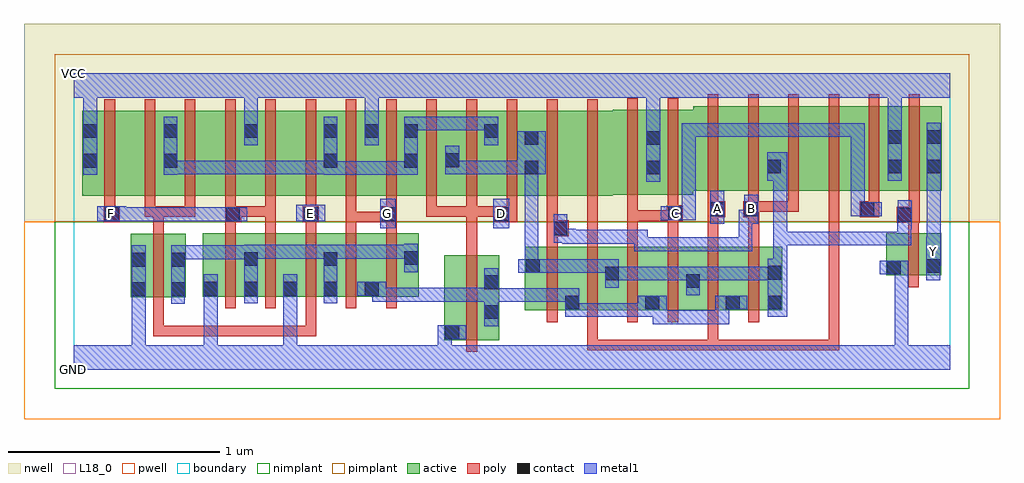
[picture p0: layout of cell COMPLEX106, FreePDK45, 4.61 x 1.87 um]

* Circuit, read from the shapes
.subckt COMPLEX106 A B C D E F G GND VCC Y
M1 n1 E GND VSUBS nfet w=0.3u l=0.05u m=2
M2 n1 F GND VSUBS nfet w=0.3u l=0.05u m=2
M3 n2 G n1 VSUBS nfet w=0.3u l=0.05u m=2
M4 n2 D GND VSUBS nfet w=0.4u l=0.05u
M5 n2 B n3 VSUBS nfet w=0.3u l=0.05u m=2
M6 n3 A n2 VSUBS nfet w=0.3u l=0.05u m=2
M7 n2 C n3 VSUBS nfet w=0.3u l=0.05u m=2
M8 Y n3 GND VSUBS nfet w=0.2u l=0.05u
M9 n4 F VCC n5 pfet w=0.4u l=0.05u
M10 n6 E n4 n5 pfet w=0.4u l=0.05u
M11 n7 E n6 n5 pfet w=0.4u l=0.05u
M12 VCC F n7 n5 pfet w=0.4u l=0.05u
M13 n8 F VCC n5 pfet w=0.4u l=0.05u
M14 n6 E n8 n5 pfet w=0.4u l=0.05u
M15 VCC G n6 n5 pfet w=0.4u l=0.05u m=2
M16 n3 D n6 n5 pfet w=0.4u l=0.05u m=3
M17 n9 B n3 n5 pfet w=0.4u l=0.05u
M18 n10 A n9 n5 pfet w=0.4u l=0.05u
M19 VCC C n10 n5 pfet w=0.4u l=0.05u
M20 n11 C VCC n5 pfet w=0.4u l=0.05u
M21 n12 A n11 n5 pfet w=0.4u l=0.05u
M22 n3 B n12 n5 pfet w=0.4u l=0.05u
M23 n13 B n3 n5 pfet w=0.4u l=0.05u
M24 n14 A n13 n5 pfet w=0.4u l=0.05u
M25 VCC C n14 n5 pfet w=0.4u l=0.05u
M26 Y n3 VCC n5 pfet w=0.4u l=0.05u
.ends

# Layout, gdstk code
import gdstk
lib = gdstk.Library(unit=1e-6, precision=1e-09)
def R(c, l, rs):  # rectangles x0, y0, x1, y1
    for r in rs: c.add(gdstk.rectangle(r[:2], r[2:], *l))
def A(c, l, x, y, w, h, nx, ny, dx, dy):  # array of equal rectangles
    R(c, l, [(x+i*dx, y+j*dy, x+i*dx+w, y+j*dy+h) for i in range(nx) for j in range(ny)])
active = (1, 0)
pwell = (2, 0)
nwell = (3, 0)
nimplant = (4, 0)
pimplant = (5, 0)
poly = (9, 0)
contact = (10, 0)
metal1 = (11, 0)
L18_0 = (18, 0)
boundary = (235, 0)

complex106 = lib.new_cell('COMPLEX106')
A(complex106, active, 0.04, 0.822, 0.225, 0.4, 3, 1, 0.38, 0)
R(complex106, active, [(1.75,0.14,2.01,0.54), (1.75,0.14,1.825,0.54), (1.935,0.235,2.01,0.54), (2.13,0.28,2.392,0.58), (2.317,0.28,2.58,0.58), (2.317,0.28,2.392,0.405), (2.505,0.28,2.77,0.58), (2.695,0.28,2.962,0.58), (2.695,0.28,2.77,0.517), (2.887,0.28,3.15,0.58), (3.075,0.28,3.347,0.58), (3.075,0.28,3.15,0.437), (3.272,0.28,3.347,0.58), (2.13,0.33,2.205,0.58), (2.505,0.33,2.58,0.492), (2.887,0.33,2.962,0.457), (0.27,0.342,0.345,0.642), (0.27,0.342,0.53,0.642), (0.455,0.342,0.53,0.642), (0.61,0.345,0.685,0.645), (0.61,0.345,0.875,0.645), (0.8,0.345,0.875,0.645), (0.8,0.345,1.06,0.645), (0.985,0.345,1.25,0.645), (0.985,0.345,1.06,0.597), (1.175,0.345,1.25,0.645), (1.175,0.345,1.445,0.645), (1.37,0.345,1.63,0.645), (1.37,0.345,1.445,0.597), (1.555,0.345,1.63,0.645), (3.837,0.445,3.912,0.645), (3.837,0.445,4.097,0.645), (4.022,0.445,4.097,0.645), (0.04,0.822,0.115,1.222), (0.265,0.822,0.495,1.222), (0.42,0.822,0.495,1.165), (0.645,0.822,0.875,1.222), (1.025,0.822,1.25,1.222), (1.175,0.822,1.25,1.2), (1.175,0.822,1.445,1.222), (1.37,0.822,1.63,1.222), (1.37,0.822,1.445,1.222), (1.555,0.822,1.825,1.222), (1.555,0.822,1.63,1.165), (1.75,0.822,2.01,1.222), (1.75,0.822,1.825,1.07), (1.935,0.822,2.01,1.2), (1.935,0.822,2.2,1.222), (2.125,0.822,2.355,1.222), (2.125,0.822,2.2,1.2), (2.355,0.822,2.545,1.222), (2.545,0.827,2.775,1.227), (2.7,0.827,2.775,1.227), (2.7,0.827,2.925,1.227), (2.925,0.845,3.115,1.245), (3.115,0.845,3.345,1.245), (3.27,0.845,3.495,1.245), (3.27,0.845,3.345,1.07), (3.495,0.845,3.685,1.245), (3.685,0.845,3.915,1.245), (3.84,0.845,4.1,1.245), (3.84,0.845,3.915,1.245), (4.025,0.845,4.1,1.155), (0.8,0.907,0.875,1.222)])
R(complex106, pwell, [(-0.235,-0.235,4.375,0.7)])
R(complex106, nwell, [(-0.235,0.7,4.375,1.635)])
R(complex106, nimplant, [(-0.09,-0.09,4.23,0.7)])
R(complex106, pimplant, [(-0.09,0.7,4.23,1.49)])
A(complex106, poly, 2.235, 0.225, 0.05, 0.41, 5, 1, 0.19, 0)
A(complex106, poly, 0.715, 0.29, 0.05, 0.41, 5, 1, 0.19, 0)
A(complex106, poly, 1.095, 0.65, 0.05, 0.097, 3, 1, 0.19, 0)
A(complex106, poly, 0.145, 0.722, 0.05, 0.095, 6, 1, 0.19, 0)
A(complex106, poly, 1.475, 0.722, 0.05, 0.095, 4, 1, 0.19, 0)
A(complex106, poly, 2.995, 0.745, 0.05, 0.095, 3, 1, 0.19, 0)
A(complex106, poly, 0.145, 0.767, 0.05, 0.51, 13, 1, 0.19, 0)
A(complex106, poly, 2.995, 0.79, 0.05, 0.51, 6, 1, 0.19, 0)
R(complex106, poly, [(1.855,0.085,1.905,0.595), (2.425,0.092,2.475,0.142), (2.425,0.092,2.475,0.142), (2.425,0.092,2.475,0.142), (2.425,0.092,2.475,0.275), (2.425,0.092,2.72,0.142), (2.67,0.092,2.72,0.142), (2.67,0.092,2.72,0.142), (2.67,0.092,2.72,0.142), (2.67,0.092,2.852,0.142), (2.802,0.092,2.852,0.142), (2.802,0.092,2.852,0.142), (2.802,0.092,2.852,0.142), (2.802,0.092,3.045,0.142), (2.995,0.092,3.045,0.142), (2.995,0.092,3.292,0.142), (2.995,0.092,3.045,0.275), (3.242,0.092,3.292,0.142), (3.242,0.092,3.292,0.142), (3.242,0.092,3.292,0.142), (3.242,0.092,3.482,0.142), (3.432,0.092,3.482,0.142), (3.432,0.092,3.482,0.142), (3.432,0.092,3.482,0.142), (3.432,0.092,3.482,0.142), (3.432,0.092,3.482,0.142), (3.432,0.092,3.482,0.142), (3.432,0.092,3.482,0.142), (3.432,0.092,3.615,0.142), (3.565,0.092,3.615,0.84), (3.565,0.092,3.615,0.142), (3.565,0.092,3.615,0.142), (3.565,0.092,3.615,0.142), (3.565,0.092,3.615,0.142), (3.565,0.092,3.615,0.142), (3.565,0.092,3.615,0.142), (3.565,0.092,3.615,0.142), (0.375,0.157,0.425,0.207), (0.375,0.157,0.425,0.207), (0.375,0.157,0.425,0.207), (0.375,0.157,0.56,0.207), (0.375,0.157,0.425,0.337), (0.51,0.157,0.56,0.207), (0.51,0.157,0.56,0.207), (0.51,0.157,0.56,0.207), (0.51,0.157,0.707,0.207), (0.657,0.157,0.707,0.207), (0.657,0.157,0.707,0.207), (0.657,0.157,0.707,0.207), (0.657,0.157,1,0.207), (0.95,0.157,1,0.207), (0.95,0.157,1,0.207), (0.95,0.157,1,0.207), (0.95,0.157,1.145,0.207), (1.095,0.157,1.145,0.207), (1.095,0.157,1.145,0.34), (3.187,0.225,3.237,0.635), (0.375,0.287,0.425,0.697), (3.942,0.39,3.992,0.7), (1.855,0.545,1.905,0.772), (2.235,0.585,2.285,0.68), (2.425,0.585,2.475,0.68), (2.615,0.585,2.665,0.752), (2.805,0.585,2.855,0.752), (2.995,0.585,3.045,0.77), (3.187,0.585,3.237,0.77), (2.235,0.63,2.337,0.705), (2.425,0.63,2.475,0.68), (2.425,0.63,2.475,0.817), (0.375,0.647,0.425,0.772), (0.715,0.65,0.765,0.747), (0.905,0.65,0.955,0.772), (3.942,0.65,3.992,0.745), (2.235,0.655,2.285,0.817), (3.887,0.695,3.995,0.77), (0.142,0.697,0.217,0.772), (0.715,0.697,0.79,0.772), (1.082,0.697,1.157,0.772), (1.285,0.697,1.335,0.817), (1.285,0.697,1.335,0.747), (1.285,0.697,1.5,0.747), (1.45,0.697,1.5,0.747), (1.45,0.697,1.5,0.747), (1.45,0.697,1.525,0.772), (1.987,0.697,2.095,0.772), (2.615,0.702,2.665,0.822), (2.615,0.702,2.665,0.752), (2.615,0.702,2.665,0.752), (2.615,0.702,2.665,0.752), (2.615,0.702,2.852,0.752), (2.802,0.702,2.877,0.777), (2.995,0.72,3.077,0.795), (3.162,0.72,3.237,0.795), (3.712,0.72,3.805,0.795), (3.945,0.72,3.995,0.84), (0.335,0.722,0.425,0.772), (0.375,0.722,0.425,0.772), (0.375,0.722,0.425,0.772), (0.375,0.722,0.575,0.772), (0.525,0.722,0.575,0.772), (0.74,0.722,0.79,0.772), (0.74,0.722,0.79,0.772), (0.74,0.722,0.955,0.772), (0.905,0.722,0.955,0.772), (1.665,0.722,1.715,0.772), (1.665,0.722,1.905,0.772), (1.855,0.722,1.905,0.772), (1.855,0.722,1.905,0.772), (1.855,0.722,1.905,0.772), (1.855,0.722,2.037,0.772), (1.987,0.722,2.037,0.772), (1.987,0.722,2.037,0.772), (2.805,0.727,2.855,0.822), (3.187,0.745,3.425,0.795), (3.375,0.745,3.425,0.795), (3.375,0.745,3.425,0.795), (3.375,0.745,3.425,0.795), (3.755,0.745,3.805,0.84), (2.615,0.772,2.665,1.282), (2.805,0.772,2.855,1.282)])
A(complex106, contact, 0.045, 1.095, 0.065, 0.065, 3, 1, 0.38, 0)
R(complex106, contact, [(1.755,0.145,1.82,0.21), (1.94,0.24,2.005,0.305), (2.322,0.285,2.387,0.35), (2.7,0.285,2.765,0.35), (3.08,0.285,3.145,0.35), (3.277,0.285,3.342,0.35), (0.275,0.347,0.34,0.412), (0.46,0.347,0.525,0.412), (0.615,0.35,0.68,0.415), (0.805,0.35,0.87,0.415), (0.99,0.35,1.055,0.415), (1.18,0.35,1.245,0.415), (1.375,0.35,1.44,0.415), (1.94,0.38,2.005,0.445), (2.892,0.387,2.957,0.452), (2.51,0.422,2.575,0.487), (3.277,0.425,3.342,0.49), (3.842,0.45,3.907,0.515), (2.135,0.457,2.2,0.522), (4.027,0.457,4.092,0.522), (0.275,0.487,0.34,0.552), (0.46,0.487,0.525,0.552), (0.805,0.49,0.87,0.555), (1.18,0.49,1.245,0.555), (1.56,0.495,1.625,0.56), (2.267,0.635,2.332,0.7), (3.892,0.7,3.957,0.765), (0.147,0.702,0.212,0.767), (0.72,0.702,0.785,0.767), (1.087,0.702,1.152,0.767), (1.455,0.702,1.52,0.767), (1.992,0.702,2.057,0.767), (2.807,0.707,2.872,0.772), (3.007,0.725,3.072,0.79), (3.167,0.725,3.232,0.79), (3.717,0.725,3.782,0.79), (2.13,0.922,2.195,0.987), (2.705,0.922,2.77,0.987), (3.275,0.927,3.34,0.992), (3.845,0.927,3.91,0.992), (4.03,0.927,4.095,0.992), (0.045,0.955,0.11,1.02), (0.425,0.955,0.49,1.02), (1.18,0.955,1.245,1.02), (1.56,0.955,1.625,1.02), (1.755,0.957,1.82,1.022), (2.13,1.062,2.195,1.127), (2.705,1.062,2.77,1.127), (3.845,1.067,3.91,1.132), (4.03,1.067,4.095,1.132), (1.18,1.095,1.245,1.16), (1.375,1.095,1.44,1.16), (1.56,1.095,1.625,1.16), (1.94,1.095,2.005,1.16)])
R(complex106, metal1, [(0,0,4.14,0.115), (0.275,0.05,0.34,0.115), (0.275,0.05,0.34,0.115), (0.275,0.05,0.34,0.377), (0.615,0.05,0.68,0.115), (0.615,0.05,0.68,0.115), (0.615,0.05,0.68,0.115), (0.615,0.05,0.68,0.115), (0.615,0.05,0.68,0.38), (0.99,0.05,1.055,0.38), (1.72,0.05,1.785,0.21), (3.877,0.05,3.942,0.115), (3.877,0.05,3.942,0.115), (3.877,0.05,3.942,0.115), (3.877,0.05,3.942,0.115), (3.877,0.05,3.942,0.515), (1.72,0.145,1.785,0.21), (1.72,0.145,1.785,0.21), (1.72,0.145,1.855,0.21), (1.94,0.205,2.005,0.48), (2.735,0.215,2.957,0.28), (2.735,0.215,2.8,0.315), (2.892,0.215,2.957,0.28), (2.892,0.215,3.095,0.28), (3.03,0.215,3.095,0.35), (2.322,0.25,2.387,0.385), (2.322,0.25,2.525,0.315), (2.46,0.25,2.525,0.315), (2.46,0.25,2.525,0.315), (2.46,0.25,2.525,0.315), (2.46,0.25,2.662,0.315), (2.597,0.25,2.662,0.315), (2.597,0.25,2.73,0.315), (2.665,0.25,2.8,0.35), (2.735,0.25,2.8,0.315), (3.277,0.25,3.37,0.525), (3.03,0.285,3.11,0.35), (3.045,0.285,3.18,0.35), (0.275,0.312,0.34,0.587), (0.275,0.312,0.34,0.377), (0.275,0.312,0.34,0.377), (0.46,0.312,0.525,0.587), (0.615,0.315,0.68,0.45), (0.805,0.315,0.87,0.59), (0.99,0.315,1.055,0.38), (0.99,0.315,1.055,0.38), (0.99,0.315,1.055,0.38), (0.99,0.315,1.055,0.38), (0.99,0.315,1.055,0.45), (1.18,0.315,1.245,0.59), (1.94,0.32,2.005,0.385), (1.94,0.32,2.005,0.385), (1.94,0.32,2.235,0.385), (2.17,0.32,2.235,0.385), (2.17,0.32,2.387,0.385), (2.322,0.32,2.387,0.385), (2.322,0.32,2.387,0.385), (1.41,0.322,1.612,0.387), (1.41,0.322,1.475,0.415), (1.547,0.322,1.612,0.387), (1.547,0.322,1.725,0.387), (1.66,0.322,1.725,0.387), (1.66,0.322,1.867,0.387), (1.802,0.322,1.867,0.387), (1.802,0.322,1.867,0.387), (1.802,0.322,1.867,0.387), (1.802,0.322,2.005,0.387), (1.34,0.35,1.475,0.415), (1.41,0.35,1.475,0.415), (2.892,0.352,2.957,0.487), (2.51,0.387,2.575,0.522), (2.51,0.422,2.662,0.487), (2.597,0.422,2.662,0.487), (2.597,0.422,2.8,0.487), (2.735,0.422,2.8,0.487), (2.735,0.422,2.8,0.487), (2.735,0.422,2.8,0.487), (2.735,0.422,2.957,0.487), (2.892,0.422,3.095,0.487), (3.03,0.422,3.095,0.487), (3.03,0.422,3.095,0.487), (3.03,0.422,3.095,0.487), (3.03,0.422,3.232,0.487), (3.167,0.422,3.232,0.487), (3.167,0.422,3.342,0.487), (4.027,0.422,4.092,0.557), (3.807,0.45,3.942,0.515), (3.877,0.45,3.942,0.515), (3.877,0.45,3.942,0.515), (2.1,0.457,2.235,0.522), (2.13,0.457,2.195,0.522), (2.13,0.457,2.195,0.522), (2.13,0.457,2.195,0.987), (2.17,0.457,2.235,0.522), (2.17,0.457,2.235,0.522), (2.17,0.457,2.235,0.522), (2.17,0.457,2.235,0.522), (2.17,0.457,2.372,0.522), (2.307,0.457,2.372,0.522), (2.307,0.457,2.525,0.522), (2.46,0.457,2.525,0.522), (2.46,0.457,2.575,0.522), (1.56,0.46,1.625,0.595), (3.305,0.46,3.37,0.652), (4.027,0.492,4.092,0.557), (4.027,0.492,4.095,0.627), (0.46,0.522,0.525,0.587), (0.46,0.522,0.525,0.587), (0.46,0.522,0.732,0.587), (0.667,0.522,0.732,0.587), (0.667,0.522,0.732,0.587), (0.667,0.522,0.732,0.587), (0.667,0.522,0.87,0.587), (0.805,0.525,0.87,0.59), (0.805,0.525,0.87,0.59), (0.805,0.525,1.107,0.59), (1.042,0.525,1.107,0.59), (1.042,0.525,1.107,0.59), (1.042,0.525,1.107,0.59), (1.042,0.525,1.245,0.59), (1.18,0.525,1.245,0.59), (1.18,0.525,1.245,0.59), (1.18,0.525,1.475,0.59), (1.41,0.525,1.475,0.59), (1.41,0.525,1.475,0.59), (1.41,0.525,1.475,0.59), (1.41,0.525,1.625,0.59), (2.647,0.56,2.935,0.625), (2.647,0.56,2.712,0.66), (2.87,0.56,2.935,0.625), (2.87,0.56,2.937,0.625), (2.872,0.56,2.937,0.625), (2.872,0.56,3.095,0.625), (3.03,0.56,3.095,0.625), (3.03,0.56,3.205,0.625), (3.14,0.56,3.205,0.625), (3.14,0.56,3.205,0.755), (4.03,0.562,4.095,0.957), (3.305,0.587,3.37,0.652), (3.305,0.587,3.37,0.652), (3.305,0.587,3.37,0.652), (3.305,0.587,3.597,0.652), (3.305,0.587,3.37,0.957), (3.532,0.587,3.597,0.652), (3.532,0.587,3.597,0.652), (3.532,0.587,3.597,0.652), (3.532,0.587,3.735,0.652), (3.67,0.587,3.735,0.652), (3.67,0.587,3.735,0.652), (3.67,0.587,3.735,0.652), (3.67,0.587,3.955,0.652), (3.89,0.587,3.955,0.652), (3.89,0.587,3.955,0.73), (2.307,0.595,2.372,0.66), (2.307,0.595,2.372,0.66), (2.307,0.595,2.525,0.66), (2.307,0.595,2.372,0.665), (2.46,0.595,2.525,0.66), (2.46,0.595,2.525,0.66), (2.46,0.595,2.525,0.66), (2.46,0.595,2.662,0.66), (2.597,0.595,2.662,0.66), (2.597,0.595,2.712,0.66), (2.267,0.6,2.332,0.735), (2.267,0.6,2.372,0.665), (3.89,0.665,3.955,0.73), (3.89,0.665,3.957,0.73), (3.892,0.665,3.957,0.8), (1.447,0.667,1.522,0.807), (1.982,0.667,2.057,0.807), (3.007,0.69,3.072,0.845), (3.14,0.69,3.205,0.755), (3.14,0.69,3.232,0.755), (3.167,0.69,3.232,0.827), (0.112,0.702,0.247,0.772), (0.182,0.702,0.247,0.767), (0.182,0.702,0.247,0.767), (0.182,0.702,0.387,0.767), (0.322,0.702,0.387,0.767), (0.322,0.702,0.387,0.767), (0.322,0.702,0.387,0.767), (0.322,0.702,0.595,0.767), (0.53,0.702,0.595,0.767), (0.53,0.702,0.662,0.767), (0.597,0.702,0.662,0.767), (0.597,0.702,0.75,0.767), (0.685,0.702,0.82,0.767), (1.052,0.702,1.187,0.78), (2.772,0.707,2.907,0.772), (2.842,0.707,2.937,0.772), (2.872,0.707,2.937,0.772), (2.872,0.707,2.937,1.165), (3.67,0.725,3.735,0.79), (3.67,0.725,3.735,0.79), (3.67,0.725,3.735,0.79), (3.67,0.725,3.747,0.79), (3.67,0.725,3.735,1.165), (3.682,0.725,3.817,0.79), (2.705,0.887,2.77,1.162), (3.275,0.892,3.37,1.027), (3.305,0.892,3.37,0.957), (3.305,0.892,3.37,0.957), (3.845,0.892,3.91,1.167), (4.03,0.892,4.095,1.167), (0.045,0.92,0.11,1.195), (0.425,0.92,0.49,1.195), (1.18,0.92,1.245,1.195), (1.18,0.92,1.245,0.985), (1.18,0.92,1.245,0.985), (1.18,0.92,1.382,0.985), (1.317,0.92,1.382,0.985), (1.317,0.92,1.382,0.985), (1.317,0.92,1.382,0.985), (1.317,0.92,1.625,0.985), (1.56,0.92,1.625,1.195), (0.425,0.922,0.525,0.987), (0.46,0.922,0.525,0.987), (0.46,0.922,0.732,0.987), (0.667,0.922,0.732,0.987), (0.667,0.922,0.732,0.987), (0.667,0.922,0.732,0.987), (0.667,0.922,0.87,0.987), (0.805,0.922,0.87,0.987), (0.805,0.922,0.87,0.987), (0.805,0.922,0.87,0.987), (0.805,0.922,1.007,0.987), (0.942,0.922,1.007,0.987), (0.942,0.922,1.007,0.987), (0.942,0.922,1.007,0.987), (0.942,0.922,1.245,0.987), (1.755,0.922,1.82,1.057), (1.755,0.922,1.867,0.987), (1.802,0.922,1.867,0.987), (1.802,0.922,2.005,0.987), (1.94,0.922,2.005,0.987), (1.94,0.922,2.005,0.987), (1.94,0.922,2.005,0.987), (1.94,0.922,2.16,0.987), (2.095,0.922,2.23,1.127), (0.805,1.06,0.87,1.195), (1.375,1.06,1.44,1.195), (1.94,1.06,2.005,1.195), (2.705,1.097,2.77,1.35), (2.872,1.1,2.937,1.165), (2.872,1.1,2.937,1.165), (2.872,1.1,2.937,1.165), (2.872,1.1,3.095,1.165), (3.03,1.1,3.095,1.165), (3.03,1.1,3.095,1.165), (3.03,1.1,3.095,1.165), (3.03,1.1,3.232,1.165), (3.167,1.1,3.232,1.165), (3.167,1.1,3.342,1.165), (3.277,1.1,3.342,1.165), (3.277,1.1,3.37,1.165), (3.305,1.1,3.37,1.165), (3.305,1.1,3.507,1.165), (3.442,1.1,3.507,1.165), (3.442,1.1,3.507,1.165), (3.442,1.1,3.507,1.165), (3.442,1.1,3.735,1.165), (3.67,1.1,3.735,1.165), (3.845,1.102,3.91,1.35), (0.045,1.13,0.11,1.35), (0.805,1.13,0.87,1.35), (1.375,1.13,1.44,1.35), (1.56,1.13,1.625,1.195), (1.56,1.13,1.625,1.195), (1.56,1.13,1.867,1.195), (1.802,1.13,1.867,1.195), (1.802,1.13,1.867,1.195), (1.802,1.13,1.867,1.195), (1.802,1.13,2.005,1.195), (0,1.285,4.14,1.4)])
R(complex106, L18_0, [(0,0,4.14,0.115), (0.275,0.05,0.34,0.115), (0.275,0.05,0.34,0.115), (0.275,0.05,0.34,0.377), (0.615,0.05,0.68,0.115), (0.615,0.05,0.68,0.115), (0.615,0.05,0.68,0.115), (0.615,0.05,0.68,0.115), (0.615,0.05,0.68,0.38), (0.99,0.05,1.055,0.38), (1.72,0.05,1.785,0.21), (3.877,0.05,3.942,0.115), (3.877,0.05,3.942,0.115), (3.877,0.05,3.942,0.115), (3.877,0.05,3.942,0.115), (3.877,0.05,3.942,0.515), (1.72,0.145,1.785,0.21), (1.72,0.145,1.785,0.21), (1.72,0.145,1.855,0.21), (0.275,0.312,0.34,0.587), (0.275,0.312,0.34,0.377), (0.275,0.312,0.34,0.377), (0.615,0.315,0.68,0.45), (0.99,0.315,1.055,0.38), (0.99,0.315,1.055,0.38), (0.99,0.315,1.055,0.38), (0.99,0.315,1.055,0.38), (0.99,0.315,1.055,0.45), (4.027,0.422,4.092,0.557), (3.807,0.45,3.942,0.515), (3.877,0.45,3.942,0.515), (3.877,0.45,3.942,0.515), (4.027,0.492,4.092,0.557), (4.027,0.492,4.095,0.627), (4.027,0.527,4.092,0.592), (2.647,0.56,2.712,0.66), (2.647,0.56,2.935,0.625), (2.87,0.56,2.935,0.625), (2.87,0.56,2.937,0.625), (2.872,0.56,2.937,0.625), (2.872,0.56,3.095,0.625), (3.03,0.56,3.095,0.625), (3.03,0.56,3.205,0.625), (3.14,0.56,3.205,0.625), (3.14,0.56,3.205,0.755), (4.03,0.562,4.095,0.957), (2.307,0.595,2.372,0.66), (2.307,0.595,2.372,0.66), (2.307,0.595,2.372,0.665), (2.307,0.595,2.525,0.66), (2.46,0.595,2.525,0.66), (2.46,0.595,2.525,0.66), (2.46,0.595,2.525,0.66), (2.46,0.595,2.662,0.66), (2.597,0.595,2.662,0.66), (2.597,0.595,2.712,0.66), (2.267,0.6,2.332,0.735), (2.267,0.6,2.372,0.665), (1.447,0.667,1.522,0.807), (1.982,0.667,2.057,0.807), (3.007,0.69,3.072,0.845), (3.14,0.69,3.205,0.755), (3.14,0.69,3.232,0.755), (3.167,0.69,3.232,0.827), (0.112,0.702,0.247,0.772), (0.182,0.702,0.247,0.767), (0.182,0.702,0.247,0.767), (0.182,0.702,0.387,0.767), (0.322,0.702,0.387,0.767), (0.322,0.702,0.387,0.767), (0.322,0.702,0.387,0.767), (0.322,0.702,0.595,0.767), (0.53,0.702,0.595,0.767), (0.53,0.702,0.662,0.767), (0.597,0.702,0.662,0.767), (0.597,0.702,0.75,0.767), (0.685,0.702,0.82,0.767), (1.052,0.702,1.187,0.78), (0.147,0.707,0.212,0.772), (1.087,0.707,1.152,0.772), (1.447,0.707,1.512,0.772), (1.987,0.707,2.052,0.772), (2.772,0.707,2.907,0.772), (2.807,0.707,2.872,0.772), (2.842,0.707,2.937,0.772), (2.872,0.707,2.937,0.772), (2.872,0.707,2.937,1.165), (3.67,0.725,3.735,0.79), (3.67,0.725,3.735,0.79), (3.67,0.725,3.735,0.79), (3.67,0.725,3.735,1.165), (3.67,0.725,3.747,0.79), (3.682,0.725,3.817,0.79), (3.007,0.727,3.072,0.792), (3.167,0.727,3.232,0.792), (2.705,0.887,2.77,1.162), (3.845,0.892,3.91,1.167), (4.03,0.892,4.095,1.167), (0.045,0.92,0.11,1.195), (0.805,1.06,0.87,1.195), (1.375,1.06,1.44,1.195), (2.705,1.097,2.77,1.35), (2.872,1.1,2.937,1.165), (2.872,1.1,2.937,1.165), (2.872,1.1,2.937,1.165), (2.872,1.1,3.095,1.165), (3.03,1.1,3.095,1.165), (3.03,1.1,3.095,1.165), (3.03,1.1,3.095,1.165), (3.03,1.1,3.232,1.165), (3.167,1.1,3.232,1.165), (3.167,1.1,3.342,1.165), (3.277,1.1,3.342,1.165), (3.277,1.1,3.37,1.165), (3.305,1.1,3.37,1.165), (3.305,1.1,3.507,1.165), (3.442,1.1,3.507,1.165), (3.442,1.1,3.507,1.165), (3.442,1.1,3.507,1.165), (3.442,1.1,3.735,1.165), (3.67,1.1,3.735,1.165), (3.845,1.102,3.91,1.35), (0.045,1.13,0.11,1.35), (0.805,1.13,0.87,1.35), (1.375,1.13,1.44,1.35), (0,1.285,4.14,1.4)])
R(complex106, boundary, [(0,0,4.14,1.4)])
complex106.add(gdstk.Label('A', (3.04,0.76), layer=11, texttype=0))
complex106.add(gdstk.Label('B', (3.2,0.76), layer=11, texttype=0))
complex106.add(gdstk.Label('C', (2.84,0.74), layer=11, texttype=0))
complex106.add(gdstk.Label('D', (2.02,0.74), layer=11, texttype=0))
complex106.add(gdstk.Label('E', (1.12,0.74), layer=11, texttype=0))
complex106.add(gdstk.Label('F', (0.18,0.74), layer=11, texttype=0))
complex106.add(gdstk.Label('G', (1.48,0.74), layer=11, texttype=0))
complex106.add(gdstk.Label('Y', (4.06,0.56), layer=11, texttype=0))
complex106.add(gdstk.Label('VCC', (0,1.4), layer=11, texttype=0))
complex106.add(gdstk.Label('GND', (0,0), layer=11, texttype=0))

lib.write_gds('COMPLEX106.gds')
